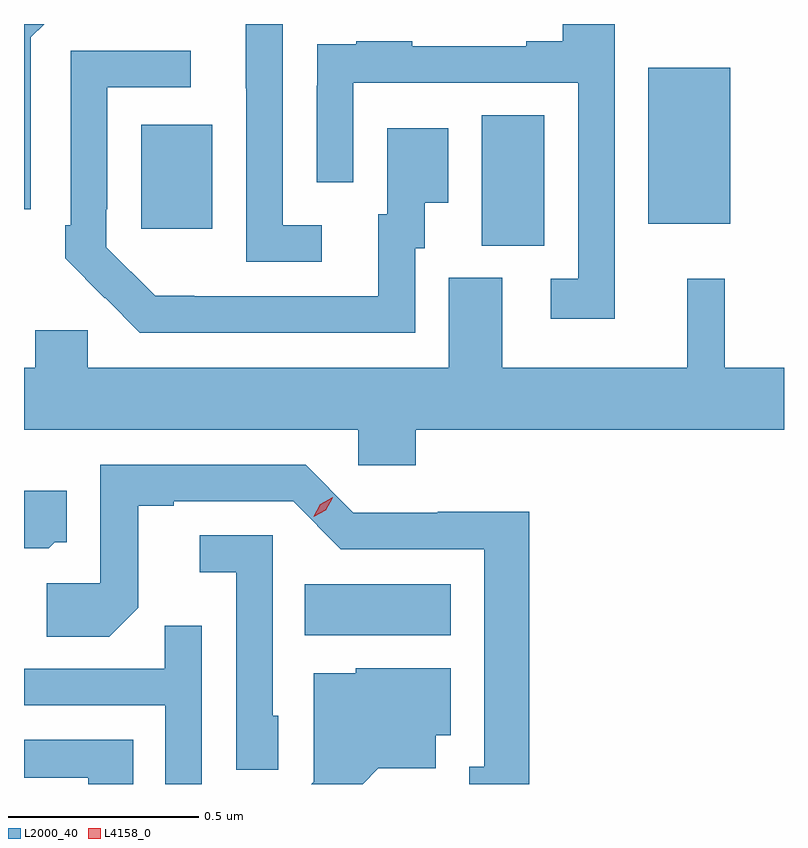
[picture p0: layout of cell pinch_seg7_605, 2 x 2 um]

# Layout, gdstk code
import gdstk
lib = gdstk.Library(unit=1e-6, precision=1e-09)
def R(c, l, rs):  # rectangles x0, y0, x1, y1
    for r in rs: c.add(gdstk.rectangle(r[:2], r[2:], *l))
def P(c, l, *ps):  # polygons
    for p in ps: c.add(gdstk.Polygon(p, *l))
L2000_40 = (2000, 40)
L4158_0 = (4158, 0)

pinch_seg7_605 = lib.new_cell('pinch_seg7_605')
R(pinch_seg7_605, L2000_40, [(172.222,1045.364,172.606,1045.498), (172.688,1046.389,172.852,1046.732), (171.791,1046.433,171.979,1046.707), (173.126,1046.447,173.341,1046.857)])
P(pinch_seg7_605, L2000_40, [(172.267,1046.442),(172.164,1046.442),(172.164,1046.972),(172.067,1046.972),(172.067,1046.803),(172.068,1046.803),(172.068,1046.346),(172.267,1046.346)],
  [(171.501,1046.937),(171.536,1046.972),(171.483,1046.972),(171.483,1046.484),(171.501,1046.484)],
  [(173.037,1046.972),(172.901,1046.972),(172.901,1046.926),(172.805,1046.926),(172.805,1046.913),(172.505,1046.913),(172.505,1046.926),(172.357,1046.926),(172.357,1046.919),(172.255,1046.919),(172.255,1046.81),(172.254,1046.81),(172.254,1046.555),(172.35,1046.555),(172.35,1046.817),(172.941,1046.817),(172.941,1046.301),(172.869,1046.301),(172.869,1046.196),(173.037,1046.196)],
  [(172.512,1046.382),(172.537,1046.382),(172.537,1046.501),(172.6,1046.501),(172.6,1046.698),(172.439,1046.698),(172.439,1046.472),(172.415,1046.472),(172.415,1046.256),(171.931,1046.256),(171.931,1046.257),(171.828,1046.257),(171.699,1046.385),(171.699,1046.485),(171.702,1046.485),(171.702,1046.805),(171.922,1046.805),(171.922,1046.901),(171.606,1046.901),(171.606,1046.443),(171.591,1046.443),(171.591,1046.355),(171.696,1046.25),(171.697,1046.251),(171.788,1046.16),(172.512,1046.16)],
  [(172.514,1045.904),(173.483,1045.904),(173.483,1046.068),(173.327,1046.068),(173.327,1046.302),(173.228,1046.302),(173.228,1046.068),(172.741,1046.068),(172.741,1046.304),(172.601,1046.304),(172.601,1046.068),(171.651,1046.068),(171.651,1046.166),(171.512,1046.166),(171.512,1046.068),(171.483,1046.068),(171.483,1045.904),(172.362,1045.904),(172.362,1045.811),(172.514,1045.811)],
  [(172.813,1045.688),(172.572,1045.688),(172.572,1045.686),(172.35,1045.686),(172.224,1045.812),(171.684,1045.812),(171.684,1045.5),(171.543,1045.5),(171.543,1045.36),(171.707,1045.36),(171.783,1045.436),(171.783,1045.704),(171.877,1045.704),(171.877,1045.716),(172.191,1045.716),(172.317,1045.59),(172.694,1045.59),(172.694,1045.017),(172.655,1045.017),(172.655,1044.972),(172.813,1044.972)],
  [(171.564,1045.608),(171.595,1045.608),(171.595,1045.744),(171.483,1045.744),(171.483,1045.592),(171.548,1045.592)],
  [(172.152,1045.152),(172.137,1045.152),(172.137,1045.626),(171.945,1045.626),(171.945,1045.529),(172.041,1045.529),(172.041,1045.009),(172.152,1045.009)],
  [(171.951,1045.388),(171.853,1045.388),(171.853,1045.275),(171.483,1045.275),(171.483,1045.179),(171.855,1045.179),(171.855,1044.972),(171.951,1044.972)],
  [(172.415,1045.013),(172.567,1045.013),(172.567,1045.1),(172.606,1045.1),(172.606,1045.276),(172.356,1045.276),(172.356,1045.264),(172.245,1045.264),(172.245,1044.978),(172.239,1044.972),(172.374,1044.972)],
  [(171.77,1045.089),(171.483,1045.089),(171.483,1044.988),(171.652,1044.988),(171.652,1044.972),(171.77,1044.972)])
P(pinch_seg7_605, L4158_0, [(172.245,1045.675),(172.245,1045.676),(172.263,1045.708),(172.295,1045.726),(172.296,1045.726),(172.296,1045.725),(172.277,1045.693),(172.245,1045.675)])

lib.write_gds('pinch_seg7_605.gds')
